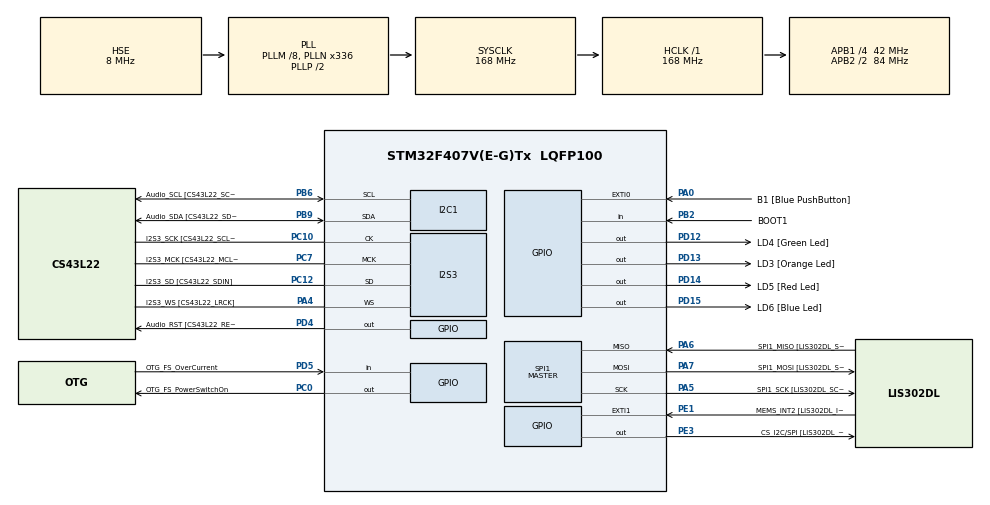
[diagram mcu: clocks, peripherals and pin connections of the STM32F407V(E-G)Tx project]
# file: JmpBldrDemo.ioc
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I2S3.AudioFreq-Half_Duplex_Master=I2S_AUDIOFREQ_96K
I2S3.ErrorAudioFreq=-2.34 %
I2S3.ErrorAudioFreq-Half_Duplex_Master=0.8 %
I2S3.FullDuplexMode=I2S_FULLDUPLEXMODE_DISABLE
I2S3.Instance=SPI$Index
I2S3.RealAudioFreq=93.75 KHz
I2S3.RealAudioFreq-Half_Duplex_Master=96.774 KHz
I2S3.VirtualMode=I2S_MODE_MASTER
Mcu.Family=STM32F4
Mcu.Name=STM32F407V(E-G)Tx
Mcu.Package=LQFP100
NVIC.PriorityGroup=NVIC_PRIORITYGROUP_0
PA0-WKUP.GPIO_Label=B1 [Blue PushButton]
PA0-WKUP.GPIO_ModeDefaultEXTI=GPIO_MODE_EVT_RISING
PA0-WKUP.GPIO_PuPd=GPIO_NOPULL
PA0-WKUP.Signal=GPXTI0
PA10.GPIO_Label=OTG_FS_ID
PA10.GPIO_Mode=GPIO_MODE_AF_PP
PA10.GPIO_PuPd=GPIO_NOPULL
PA10.GPIO_Speed=GPIO_SPEED_FREQ_LOW
PA10.Signal=USB_OTG_FS_ID
PA11.GPIO_Label=OTG_FS_DM
PA11.GPIO_Mode=GPIO_MODE_AF_PP
PA11.GPIO_PuPd=GPIO_NOPULL
PA11.GPIO_Speed=GPIO_SPEED_FREQ_LOW
PA11.Signal=USB_OTG_FS_DM
PA12.GPIO_Label=OTG_FS_DP
PA12.GPIO_Mode=GPIO_MODE_AF_PP
PA12.GPIO_PuPd=GPIO_NOPULL
PA12.GPIO_Speed=GPIO_SPEED_FREQ_LOW
PA12.Signal=USB_OTG_FS_DP
PA13.GPIO_Label=SWDIO
PA13.Mode=Serial_Wire
PA13.Signal=SYS_JTMS-SWDIO
PA14.GPIO_Label=SWCLK
PA14.Mode=Serial_Wire
PA14.Signal=SYS_JTCK-SWCLK
PA4.GPIO_Label=I2S3_WS [CS43L22_LRCK]
PA4.GPIO_Mode=GPIO_MODE_AF_PP
PA4.GPIO_PuPd=GPIO_NOPULL
PA4.GPIO_Speed=GPIO_SPEED_FREQ_LOW
PA4.Mode=Half_Duplex_Master
PA4.Signal=I2S3_WS
PA5.GPIO_Label=SPI1_SCK [LIS302DL_SCL/SPC]
PA5.GPIO_Mode=GPIO_MODE_AF_PP
PA5.GPIO_PuPd=GPIO_NOPULL
PA5.GPIO_Speed=GPIO_SPEED_FREQ_LOW
PA5.Mode=Full_Duplex_Master
PA5.Signal=SPI1_SCK
PA6.GPIO_Label=SPI1_MISO [LIS302DL_SDO]
PA6.GPIO_Mode=GPIO_MODE_AF_PP
PA6.GPIO_PuPd=GPIO_NOPULL
PA6.GPIO_Speed=GPIO_SPEED_FREQ_LOW
PA6.Mode=Full_Duplex_Master
PA6.Signal=SPI1_MISO
PA7.GPIO_Label=SPI1_MOSI [LIS302DL_SDA/SDI/SDO]
PA7.GPIO_Mode=GPIO_MODE_AF_PP
PA7.GPIO_PuPd=GPIO_NOPULL
PA7.GPIO_Speed=GPIO_SPEED_FREQ_LOW
PA7.Mode=Full_Duplex_Master
PA7.Signal=SPI1_MOSI
PA9.GPIO_Label=VBUS_FS
PA9.GPIO_Mode=GPIO_MODE_INPUT
PA9.GPIO_PuPd=GPIO_NOPULL
PA9.Signal=USB_OTG_FS_VBUS
PB10.GPIO_Label=CLK_IN [MP45DT02_CLK]
PB10.GPIO_Mode=GPIO_MODE_AF_PP
PB10.GPIO_PuPd=GPIO_NOPULL
PB10.GPIO_Speed=GPIO_SPEED_FREQ_LOW
PB10.Signal=I2S2_CK
PB2.GPIO_Label=BOOT1
PB2.GPIO_Mode=GPIO_MODE_INPUT
PB2.GPIO_PuPd=GPIO_NOPULL
PB2.Signal=GPIO_Input
PB3.GPIO_Label=SWO
PB3.Signal=SYS_JTDO-SWO
PB6.GPIO_Label=Audio_SCL [CS43L22_SCL]
PB6.GPIO_Mode=GPIO_MODE_AF_OD
PB6.GPIO_PuPd=GPIO_NOPULL
PB6.GPIO_Speed=GPIO_SPEED_FREQ_LOW
PB6.Mode=I2C
PB6.Signal=I2C1_SCL
PB9.GPIO_Label=Audio_SDA [CS43L22_SDA]
PB9.GPIO_Mode=GPIO_MODE_AF_OD
PB9.GPIO_PuPd=GPIO_NOPULL
PB9.GPIO_Speed=GPIO_SPEED_FREQ_LOW
PB9.Mode=I2C
PB9.Signal=I2C1_SDA
PC0.GPIO_Label=OTG_FS_PowerSwitchOn
PC0.GPIO_PuPd=GPIO_NOPULL
PC0.GPIO_Speed=GPIO_SPEED_FREQ_LOW
PC0.PinState=GPIO_PIN_SET
PC0.Signal=GPIO_Output
PC10.GPIO_Label=I2S3_SCK [CS43L22_SCLK]
PC10.GPIO_Mode=GPIO_MODE_AF_PP
PC10.GPIO_PuPd=GPIO_NOPULL
PC10.GPIO_Speed=GPIO_SPEED_FREQ_LOW
PC10.Mode=Half_Duplex_Master
PC10.Signal=I2S3_CK
PC12.GPIO_Label=I2S3_SD [CS43L22_SDIN]
PC12.GPIO_Mode=GPIO_MODE_AF_PP
PC12.GPIO_PuPd=GPIO_NOPULL
PC12.GPIO_Speed=GPIO_SPEED_FREQ_LOW
PC12.Mode=Half_Duplex_Master
PC12.Signal=I2S3_SD
PC14-OSC32_IN.GPIO_Label=PC14-OSC32_IN
PC14-OSC32_IN.Mode=LSE-External-Oscillator
PC14-OSC32_IN.Signal=RCC_OSC32_IN
PC15-OSC32_OUT.GPIO_Label=PC15-OSC32_OUT
PC15-OSC32_OUT.Mode=LSE-External-Oscillator
PC15-OSC32_OUT.Signal=RCC_OSC32_OUT
PC3.GPIO_Label=PDM_OUT [MP45DT02_DOUT]
PC3.GPIO_Mode=GPIO_MODE_AF_PP
PC3.GPIO_PuPd=GPIO_NOPULL
PC3.GPIO_Speed=GPIO_SPEED_FREQ_LOW
PC3.Signal=I2S2_SD
PC7.GPIO_Label=I2S3_MCK [CS43L22_MCLK]
PC7.GPIO_Mode=GPIO_MODE_AF_PP
PC7.GPIO_PuPd=GPIO_NOPULL
PC7.GPIO_Speed=GPIO_SPEED_FREQ_LOW
PC7.Mode=Master_Clock_Activated
PC7.Signal=I2S3_MCK
PD12.GPIO_Label=LD4 [Green Led]
PD12.GPIO_PuPd=GPIO_NOPULL
PD12.GPIO_Speed=GPIO_SPEED_FREQ_LOW
PD12.Signal=GPIO_Output
PD13.GPIO_Label=LD3 [Orange Led]
PD13.GPIO_PuPd=GPIO_NOPULL
PD13.GPIO_Speed=GPIO_SPEED_FREQ_LOW
PD13.Signal=GPIO_Output
PD14.GPIO_Label=LD5 [Red Led]
PD14.GPIO_PuPd=GPIO_NOPULL
PD14.GPIO_Speed=GPIO_SPEED_FREQ_LOW
PD14.Signal=GPIO_Output
PD15.GPIO_Label=LD6 [Blue Led]
PD15.GPIO_PuPd=GPIO_NOPULL
PD15.GPIO_Speed=GPIO_SPEED_FREQ_LOW
PD15.Signal=GPIO_Output
PD4.GPIO_Label=Audio_RST [CS43L22_RESET]
PD4.GPIO_PuPd=GPIO_NOPULL
PD4.GPIO_Speed=GPIO_SPEED_FREQ_LOW
PD4.Signal=GPIO_Output
PD5.GPIO_Label=OTG_FS_OverCurrent
PD5.GPIO_Mode=GPIO_MODE_INPUT
PD5.GPIO_PuPd=GPIO_NOPULL
PD5.Signal=GPIO_Input
PE1.GPIO_Label=MEMS_INT2 [LIS302DL_INT2]
PE1.GPIO_ModeDefaultEXTI=GPIO_MODE_EVT_RISING
PE1.GPIO_PuPd=GPIO_NOPULL
PE1.Signal=GPXTI1
PE3.GPIO_Label=CS_I2C/SPI [LIS302DL_CS_I2C/SPI]
PE3.GPIO_PuPd=GPIO_NOPULL
PE3.GPIO_Speed=GPIO_SPEED_FREQ_LOW
PE3.Signal=GPIO_Output
PH0-OSC_IN.GPIO_Label=PH0-OSC_IN
PH0-OSC_IN.Mode=HSE-External-Oscillator
PH0-OSC_IN.Signal=RCC_OSC_IN
PH1-OSC_OUT.GPIO_Label=PH1-OSC_OUT
PH1-OSC_OUT.Mode=HSE-External-Oscillator
PH1-OSC_OUT.Signal=RCC_OSC_OUT
ProjectManager.HeapSize=0x200
ProjectManager.StackSize=0x400
ProjectManager.TargetToolchain=STM32CubeIDE
RCC.48MHZClocksFreq_Value=48000000
RCC.AHBFreq_Value=168000000
RCC.APB1CLKDivider=RCC_HCLK_DIV4
RCC.APB1Freq_Value=42000000
RCC.APB1TimFreq_Value=84000000
RCC.APB2CLKDivider=RCC_HCLK_DIV2
RCC.APB2Freq_Value=84000000
RCC.APB2TimFreq_Value=168000000
RCC.CortexFreq_Value=168000000
RCC.HCLKFreq_Value=168000000
RCC.HSE_VALUE=8000000
RCC.HSI_VALUE=16000000
RCC.PLLM=8
RCC.PLLN=336
RCC.PLLQ=7
RCC.PLLSourceVirtual=RCC_PLLSOURCE_HSE
RCC.SYSCLKFreq_VALUE=168000000
RCC.SYSCLKSource=RCC_SYSCLKSOURCE_PLLCLK
RCC.VCOOutputFreq_Value=336000000
SPI1.BaudRatePrescaler-Full_Duplex_Master=SPI_BAUDRATEPRESCALER_2
SPI1.CalculateBaudRate-Full_Duplex_Master=42.0 MBits/s
SPI1.Direction=SPI_DIRECTION_2LINES
SPI1.Mode=SPI_MODE_MASTER
SPI1.Mode-Full_Duplex_Master=SPI_MODE_MASTER
SPI1.VirtualType=VM_MASTER
board=STM32F407G-DISC1

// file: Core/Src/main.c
/* USER CODE BEGIN Header */
/**
  ******************************************************************************
  * @file           : main.c
  * @brief          : Main program body
  ******************************************************************************
  * @attention
  *
  * <h2><center>&copy; Copyright (c) 2020 STMicroelectronics.
  * All rights reserved.</center></h2>
  *
  * This software component is licensed by ST under Ultimate Liberty license
  * SLA0044, the "License"; You may not use this file except in compliance with
  * the License. You may obtain a copy of the License at:
  *                             www.st.com/SLA0044
  *
  ******************************************************************************
  */
/* USER CODE END Header */

#include "main.h"

I2C_HandleTypeDef hi2c1;

I2S_HandleTypeDef hi2s3;

SPI_HandleTypeDef hspi1;

void SystemClock_Config(void);
static void MX_GPIO_Init(void);
static void MX_I2C1_Init(void);
static void MX_I2S3_Init(void);
static void MX_SPI1_Init(void);

/* USER CODE BEGIN 0 */
void JumpToBootloader(void) {
    void (*SysMemBootJump)(void);

    /**
     * Step: Set system memory address.
     *
     *       For STM32F429, system memory is on 0x1FFF 0000
     *       For other families, check AN2606 document table 110 with descriptions of memory addresses
     */
    volatile uint32_t addr = 0x1FFF0000;

    /**
     * Step: Disable RCC, set it to default (after reset) settings
     *       Internal clock, no PLL, etc.
     */
#if defined(USE_HAL_DRIVER)
    HAL_RCC_DeInit();
    HAL_DeInit(); // add by ctien
#endif /* defined(USE_HAL_DRIVER) */
#if defined(USE_STDPERIPH_DRIVER)
    RCC_DeInit();
#endif /* defined(USE_STDPERIPH_DRIVER) */

    /**
     * Step: Disable systick timer and reset it to default values
     */
    SysTick->CTRL = 0;
    SysTick->LOAD = 0;
    SysTick->VAL = 0;

    /**
     * Step: Disable all interrupts
     */
//    __disable_irq(); // changed by ctien

    /**
     * Step: Remap system memory to address 0x0000 0000 in address space
     *       For each family registers may be different.
     *       Check reference manual for each family.
     *
     *       For STM32F4xx, MEMRMP register in SYSCFG is used (bits[1:0])
     *       For STM32F0xx, CFGR1 register in SYSCFG is used (bits[1:0])
     *       For others, check family reference manual
     */
    //Remap by hand... {
#if defined(STM32F4)
    SYSCFG->MEMRMP = 0x01;
#endif
#if defined(STM32F0)
    SYSCFG->CFGR1 = 0x01;
#endif
    //} ...or if you use HAL drivers
    //__HAL_SYSCFG_REMAPMEMORY_SYSTEMFLASH();    //Call HAL macro to do this for you

    /**
     * Step: Set jump memory location for system memory
     *       Use address with 4 bytes offset which specifies jump location where program starts
     */
    SysMemBootJump = (void (*)(void)) (*((uint32_t *)(addr + 4)));

    /**
     * Step: Set main stack pointer.
     *       This step must be done last otherwise local variables in this function
     *       don't have proper value since stack pointer is located on different position
     *
     *       Set direct address location which specifies stack pointer in SRAM location
     */
    __set_MSP(*(uint32_t *)addr);

    /**
     * Step: Actually call our function to jump to set location
     *       This will start system memory execution
     */
    SysMemBootJump();

    /**
     * Step: Connect USB<->UART converter to dedicated USART pins and test
     *       and test with bootloader works with STM32 STM32 Cube Programmer
     */
}

/* USER CODE END 0 */

int main(void)
{

  /* MCU Configuration--------------------------------------------------------*/

  /* Reset of all peripherals, Initializes the Flash interface and the Systick. */
  HAL_Init();

  /* Configure the system clock */
  SystemClock_Config();

  /* Initialize all configured peripherals */
  MX_GPIO_Init();
  MX_I2C1_Init();
  MX_I2S3_Init();
  MX_SPI1_Init();

  /* Infinite loop */
  while (1)
  {

    /* USER CODE BEGIN 3 */
	HAL_Delay(500);
	HAL_GPIO_TogglePin(LD6_GPIO_Port, LD6_Pin);
	if ( HAL_GPIO_ReadPin(B1_GPIO_Port, B1_Pin) == GPIO_PIN_SET) {
		HAL_GPIO_WritePin(LD5_GPIO_Port, LD5_Pin, GPIO_PIN_SET);
		JumpToBootloader();
	}
  }
  /* USER CODE END 3 */
}

void SystemClock_Config(void)
{
  RCC_OscInitTypeDef RCC_OscInitStruct = {0};
  RCC_ClkInitTypeDef RCC_ClkInitStruct = {0};
  RCC_PeriphCLKInitTypeDef PeriphClkInitStruct = {0};

  /** Configure the main internal regulator output voltage
  */
  __HAL_RCC_PWR_CLK_ENABLE();
  __HAL_PWR_VOLTAGESCALING_CONFIG(PWR_REGULATOR_VOLTAGE_SCALE1);
  /** Initializes the CPU, AHB and APB busses clocks
  */
  RCC_OscInitStruct.OscillatorType = RCC_OSCILLATORTYPE_HSE;
  RCC_OscInitStruct.HSEState = RCC_HSE_ON;
  RCC_OscInitStruct.PLL.PLLState = RCC_PLL_ON;
  RCC_OscInitStruct.PLL.PLLSource = RCC_PLLSOURCE_HSE;
  RCC_OscInitStruct.PLL.PLLM = 8;
  RCC_OscInitStruct.PLL.PLLN = 336;
  RCC_OscInitStruct.PLL.PLLP = RCC_PLLP_DIV2;
  RCC_OscInitStruct.PLL.PLLQ = 7;
  if (HAL_RCC_OscConfig(&RCC_OscInitStruct) != HAL_OK)
  {
    Error_Handler();
  }
  /** Initializes the CPU, AHB and APB busses clocks
  */
  RCC_ClkInitStruct.ClockType = RCC_CLOCKTYPE_HCLK|RCC_CLOCKTYPE_SYSCLK
                              |RCC_CLOCKTYPE_PCLK1|RCC_CLOCKTYPE_PCLK2;
  RCC_ClkInitStruct.SYSCLKSource = RCC_SYSCLKSOURCE_PLLCLK;
  RCC_ClkInitStruct.AHBCLKDivider = RCC_SYSCLK_DIV1;
  RCC_ClkInitStruct.APB1CLKDivider = RCC_HCLK_DIV4;
  RCC_ClkInitStruct.APB2CLKDivider = RCC_HCLK_DIV2;

  if (HAL_RCC_ClockConfig(&RCC_ClkInitStruct, FLASH_LATENCY_5) != HAL_OK)
  {
    Error_Handler();
  }
  PeriphClkInitStruct.PeriphClockSelection = RCC_PERIPHCLK_I2S;
  PeriphClkInitStruct.PLLI2S.PLLI2SN = 192;
  PeriphClkInitStruct.PLLI2S.PLLI2SR = 2;
  if (HAL_RCCEx_PeriphCLKConfig(&PeriphClkInitStruct) != HAL_OK)
  {
    Error_Handler();
  }
}

static void MX_I2C1_Init(void)
{

  hi2c1.Instance = I2C1;
  hi2c1.Init.ClockSpeed = 100000;
  hi2c1.Init.DutyCycle = I2C_DUTYCYCLE_2;
  hi2c1.Init.OwnAddress1 = 0;
  hi2c1.Init.AddressingMode = I2C_ADDRESSINGMODE_7BIT;
  hi2c1.Init.DualAddressMode = I2C_DUALADDRESS_DISABLE;
  hi2c1.Init.OwnAddress2 = 0;
  hi2c1.Init.GeneralCallMode = I2C_GENERALCALL_DISABLE;
  hi2c1.Init.NoStretchMode = I2C_NOSTRETCH_DISABLE;
  if (HAL_I2C_Init(&hi2c1) != HAL_OK)
  {
    Error_Handler();
  }

}

static void MX_I2S3_Init(void)
{

  hi2s3.Instance = SPI3;
  hi2s3.Init.Mode = I2S_MODE_MASTER_TX;
  hi2s3.Init.Standard = I2S_STANDARD_PHILIPS;
  hi2s3.Init.DataFormat = I2S_DATAFORMAT_16B;
  hi2s3.Init.MCLKOutput = I2S_MCLKOUTPUT_ENABLE;
  hi2s3.Init.AudioFreq = I2S_AUDIOFREQ_96K;
  hi2s3.Init.CPOL = I2S_CPOL_LOW;
  hi2s3.Init.ClockSource = I2S_CLOCK_PLL;
  hi2s3.Init.FullDuplexMode = I2S_FULLDUPLEXMODE_DISABLE;
  if (HAL_I2S_Init(&hi2s3) != HAL_OK)
  {
    Error_Handler();
  }

}

static void MX_SPI1_Init(void)
{

  /* SPI1 parameter configuration*/
  hspi1.Instance = SPI1;
  hspi1.Init.Mode = SPI_MODE_MASTER;
  hspi1.Init.Direction = SPI_DIRECTION_2LINES;
  hspi1.Init.DataSize = SPI_DATASIZE_8BIT;
  hspi1.Init.CLKPolarity = SPI_POLARITY_LOW;
  hspi1.Init.CLKPhase = SPI_PHASE_1EDGE;
  hspi1.Init.NSS = SPI_NSS_SOFT;
  hspi1.Init.BaudRatePrescaler = SPI_BAUDRATEPRESCALER_2;
  hspi1.Init.FirstBit = SPI_FIRSTBIT_MSB;
  hspi1.Init.TIMode = SPI_TIMODE_DISABLE;
  hspi1.Init.CRCCalculation = SPI_CRCCALCULATION_DISABLE;
  hspi1.Init.CRCPolynomial = 10;
  if (HAL_SPI_Init(&hspi1) != HAL_OK)
  {
    Error_Handler();
  }

}

static void MX_GPIO_Init(void)
{
  GPIO_InitTypeDef GPIO_InitStruct = {0};

  /* GPIO Ports Clock Enable */
  __HAL_RCC_GPIOE_CLK_ENABLE();
  __HAL_RCC_GPIOC_CLK_ENABLE();
  __HAL_RCC_GPIOH_CLK_ENABLE();
  __HAL_RCC_GPIOA_CLK_ENABLE();
  __HAL_RCC_GPIOB_CLK_ENABLE();
  __HAL_RCC_GPIOD_CLK_ENABLE();

  /*Configure GPIO pin Output Level */
  HAL_GPIO_WritePin(CS_I2C_SPI_GPIO_Port, CS_I2C_SPI_Pin, GPIO_PIN_RESET);

  /*Configure GPIO pin Output Level */
  HAL_GPIO_WritePin(OTG_FS_PowerSwitchOn_GPIO_Port, OTG_FS_PowerSwitchOn_Pin, GPIO_PIN_SET);

  /*Configure GPIO pin Output Level */
  HAL_GPIO_WritePin(GPIOD, LD4_Pin|LD3_Pin|LD5_Pin|LD6_Pin
                          |Audio_RST_Pin, GPIO_PIN_RESET);

  /*Configure GPIO pin : CS_I2C_SPI_Pin */
  GPIO_InitStruct.Pin = CS_I2C_SPI_Pin;
  GPIO_InitStruct.Mode = GPIO_MODE_OUTPUT_PP;
  GPIO_InitStruct.Pull = GPIO_NOPULL;
  GPIO_InitStruct.Speed = GPIO_SPEED_FREQ_LOW;
  HAL_GPIO_Init(CS_I2C_SPI_GPIO_Port, &GPIO_InitStruct);

  /*Configure GPIO pin : OTG_FS_PowerSwitchOn_Pin */
  GPIO_InitStruct.Pin = OTG_FS_PowerSwitchOn_Pin;
  GPIO_InitStruct.Mode = GPIO_MODE_OUTPUT_PP;
  GPIO_InitStruct.Pull = GPIO_NOPULL;
  GPIO_InitStruct.Speed = GPIO_SPEED_FREQ_LOW;
  HAL_GPIO_Init(OTG_FS_PowerSwitchOn_GPIO_Port, &GPIO_InitStruct);

  /*Configure GPIO pin : PDM_OUT_Pin */
  GPIO_InitStruct.Pin = PDM_OUT_Pin;
  GPIO_InitStruct.Mode = GPIO_MODE_AF_PP;
  GPIO_InitStruct.Pull = GPIO_NOPULL;
  GPIO_InitStruct.Speed = GPIO_SPEED_FREQ_LOW;
  GPIO_InitStruct.Alternate = GPIO_AF5_SPI2;
  HAL_GPIO_Init(PDM_OUT_GPIO_Port, &GPIO_InitStruct);

  /*Configure GPIO pin : B1_Pin */
  GPIO_InitStruct.Pin = B1_Pin;
  GPIO_InitStruct.Mode = GPIO_MODE_EVT_RISING;
  GPIO_InitStruct.Pull = GPIO_NOPULL;
  HAL_GPIO_Init(B1_GPIO_Port, &GPIO_InitStruct);

  /*Configure GPIO pin : BOOT1_Pin */
  GPIO_InitStruct.Pin = BOOT1_Pin;
  GPIO_InitStruct.Mode = GPIO_MODE_INPUT;
  GPIO_InitStruct.Pull = GPIO_NOPULL;
  HAL_GPIO_Init(BOOT1_GPIO_Port, &GPIO_InitStruct);

  /*Configure GPIO pin : CLK_IN_Pin */
  GPIO_InitStruct.Pin = CLK_IN_Pin;
  GPIO_InitStruct.Mode = GPIO_MODE_AF_PP;
  GPIO_InitStruct.Pull = GPIO_NOPULL;
  GPIO_InitStruct.Speed = GPIO_SPEED_FREQ_LOW;
  GPIO_InitStruct.Alternate = GPIO_AF5_SPI2;
  HAL_GPIO_Init(CLK_IN_GPIO_Port, &GPIO_InitStruct);

  /*Configure GPIO pins : LD4_Pin LD3_Pin LD5_Pin LD6_Pin
                           Audio_RST_Pin */
  GPIO_InitStruct.Pin = LD4_Pin|LD3_Pin|LD5_Pin|LD6_Pin
                          |Audio_RST_Pin;
  GPIO_InitStruct.Mode = GPIO_MODE_OUTPUT_PP;
  GPIO_InitStruct.Pull = GPIO_NOPULL;
  GPIO_InitStruct.Speed = GPIO_SPEED_FREQ_LOW;
  HAL_GPIO_Init(GPIOD, &GPIO_InitStruct);

  /*Configure GPIO pin : VBUS_FS_Pin */
  GPIO_InitStruct.Pin = VBUS_FS_Pin;
  GPIO_InitStruct.Mode = GPIO_MODE_INPUT;
  GPIO_InitStruct.Pull = GPIO_NOPULL;
  HAL_GPIO_Init(VBUS_FS_GPIO_Port, &GPIO_InitStruct);

  /*Configure GPIO pins : OTG_FS_ID_Pin OTG_FS_DM_Pin OTG_FS_DP_Pin */
  GPIO_InitStruct.Pin = OTG_FS_ID_Pin|OTG_FS_DM_Pin|OTG_FS_DP_Pin;
  GPIO_InitStruct.Mode = GPIO_MODE_AF_PP;
  GPIO_InitStruct.Pull = GPIO_NOPULL;
  GPIO_InitStruct.Speed = GPIO_SPEED_FREQ_LOW;
  GPIO_InitStruct.Alternate = GPIO_AF10_OTG_FS;
  HAL_GPIO_Init(GPIOA, &GPIO_InitStruct);

  /*Configure GPIO pin : OTG_FS_OverCurrent_Pin */
  GPIO_InitStruct.Pin = OTG_FS_OverCurrent_Pin;
  GPIO_InitStruct.Mode = GPIO_MODE_INPUT;
  GPIO_InitStruct.Pull = GPIO_NOPULL;
  HAL_GPIO_Init(OTG_FS_OverCurrent_GPIO_Port, &GPIO_InitStruct);

  /*Configure GPIO pin : MEMS_INT2_Pin */
  GPIO_InitStruct.Pin = MEMS_INT2_Pin;
  GPIO_InitStruct.Mode = GPIO_MODE_EVT_RISING;
  GPIO_InitStruct.Pull = GPIO_NOPULL;
  HAL_GPIO_Init(MEMS_INT2_GPIO_Port, &GPIO_InitStruct);

}

void Error_Handler(void)
{
}

/************************ (C) COPYRIGHT STMicroelectronics *****END OF FILE****/
